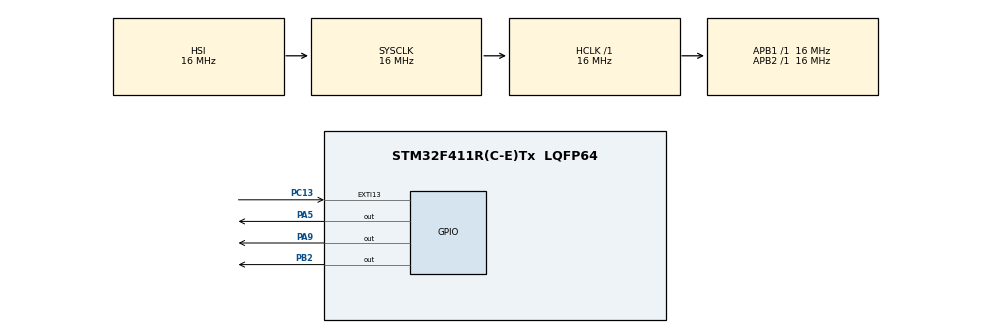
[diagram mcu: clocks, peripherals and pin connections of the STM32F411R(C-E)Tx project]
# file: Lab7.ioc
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FREERTOS.Tasks01=defaultTask,0,128,StartDefaultTask,Default,NULL,Dynamic,NULL,NULL
FREERTOS.configUSE_NEWLIB_REENTRANT=1
Mcu.Family=STM32F4
Mcu.Name=STM32F411R(C-E)Tx
Mcu.Package=LQFP64
NVIC.EXTI15_10_IRQn=true\:5\:0\:true\:false\:true\:false\:true\:true\:true
NVIC.PriorityGroup=NVIC_PRIORITYGROUP_4
NVIC.TIM1_UP_TIM10_IRQn=true\:15\:0\:false\:false\:true\:false\:false\:true\:true
NVIC.TimeBase=TIM1_UP_TIM10_IRQn
NVIC.TimeBaseIP=TIM1
PA5.Signal=GPIO_Output
PA9.Signal=GPIO_Output
PB2.Signal=GPIO_Output
PC13-ANTI_TAMP.Signal=GPXTI13
ProjectManager.HeapSize=0x200
ProjectManager.StackSize=0x400
ProjectManager.TargetToolchain=STM32CubeIDE
RCC.AHBFreq_Value=16000000
RCC.APB1Freq_Value=16000000
RCC.APB2Freq_Value=16000000
RCC.CortexFreq_Value=16000000
RCC.HSE_VALUE=25000000
RCC.HSI_VALUE=16000000
RCC.LSE_VALUE=32768
RCC.SYSCLKFreq_VALUE=16000000
RCC.VCOOutputFreq_Value=192000000
VP_FREERTOS_VS_CMSIS_V1.Mode=CMSIS_V1
VP_SYS_VS_tim1.Mode=TIM1
board=custom

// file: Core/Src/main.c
/* USER CODE BEGIN Header */
/**
  ******************************************************************************
  * @file           : main.c
  * @brief          : Main program body
  ******************************************************************************
  * @attention
  *
  * Copyright (c) 2026 STMicroelectronics.
  * All rights reserved.
  *
  * This software is licensed under terms that can be found in the LICENSE file
  * in the root directory of this software component.
  * If no LICENSE file comes with this software, it is provided AS-IS.
  *Світлодіоди PA5 - зелений PA9 - блакитний PB2 - червоний
  ******************************************************************************
  */
/* USER CODE END Header */
#include "main.h"
#include "cmsis_os.h"

osThreadId defaultTaskHandle;

void SystemClock_Config(void);
static void MX_GPIO_Init(void);
void StartDefaultTask(void const * argument);

/* USER CODE BEGIN PFP */
void Led1Blink(void * argument);
void Led2Blink(void * argument);
void Led3Blink(void * argument);
/* USER CODE END PFP */

/* USER CODE BEGIN 0 */
QueueHandle_t delayQueue;

/* USER CODE END 0 */

int main(void)
{

  /* MCU Configuration--------------------------------------------------------*/

  /* Reset of all peripherals, Initializes the Flash interface and the Systick. */
  HAL_Init();

  /* Configure the system clock */
  SystemClock_Config();

  /* Initialize all configured peripherals */
  MX_GPIO_Init();

  /* USER CODE BEGIN RTOS_QUEUES */
  delayQueue = xQueueCreate(1, sizeof(uint8_t));
  /* add queues, ... */
  /* USER CODE END RTOS_QUEUES */

  /* Create the thread(s) */
  /* definition and creation of defaultTask */
  osThreadDef(defaultTask, StartDefaultTask, osPriorityNormal, 0, 128);
  defaultTaskHandle = osThreadCreate(osThread(defaultTask), NULL);

  /* USER CODE BEGIN RTOS_THREADS */
  /* add threads, ... */
  xTaskCreate(Led1Blink, "Led1Blink", 128, NULL, 1, NULL);
  xTaskCreate(Led2Blink, "Led1Blink", 128, NULL, 1, NULL);
  xTaskCreate(Led3Blink, "Led1Blink", 128, NULL, 1, NULL);

  /* USER CODE END RTOS_THREADS */

  /* Start scheduler */
  osKernelStart();

  /* We should never get here as control is now taken by the scheduler */

  /* Infinite loop */
  while (1)
  {

  }
}

void SystemClock_Config(void)
{
  RCC_OscInitTypeDef RCC_OscInitStruct = {0};
  RCC_ClkInitTypeDef RCC_ClkInitStruct = {0};

  /** Configure the main internal regulator output voltage
  */
  __HAL_RCC_PWR_CLK_ENABLE();
  __HAL_PWR_VOLTAGESCALING_CONFIG(PWR_REGULATOR_VOLTAGE_SCALE1);

  /** Initializes the RCC Oscillators according to the specified parameters
  * in the RCC_OscInitTypeDef structure.
  */
  RCC_OscInitStruct.OscillatorType = RCC_OSCILLATORTYPE_HSI;
  RCC_OscInitStruct.HSIState = RCC_HSI_ON;
  RCC_OscInitStruct.HSICalibrationValue = RCC_HSICALIBRATION_DEFAULT;
  RCC_OscInitStruct.PLL.PLLState = RCC_PLL_NONE;
  if (HAL_RCC_OscConfig(&RCC_OscInitStruct) != HAL_OK)
  {
    Error_Handler();
  }

  /** Initializes the CPU, AHB and APB buses clocks
  */
  RCC_ClkInitStruct.ClockType = RCC_CLOCKTYPE_HCLK|RCC_CLOCKTYPE_SYSCLK
                              |RCC_CLOCKTYPE_PCLK1|RCC_CLOCKTYPE_PCLK2;
  RCC_ClkInitStruct.SYSCLKSource = RCC_SYSCLKSOURCE_HSI;
  RCC_ClkInitStruct.AHBCLKDivider = RCC_SYSCLK_DIV1;
  RCC_ClkInitStruct.APB1CLKDivider = RCC_HCLK_DIV1;
  RCC_ClkInitStruct.APB2CLKDivider = RCC_HCLK_DIV1;

  if (HAL_RCC_ClockConfig(&RCC_ClkInitStruct, FLASH_LATENCY_0) != HAL_OK)
  {
    Error_Handler();
  }
}

static void MX_GPIO_Init(void)
{
  GPIO_InitTypeDef GPIO_InitStruct = {0};

  /* GPIO Ports Clock Enable */
  __HAL_RCC_GPIOC_CLK_ENABLE();
  __HAL_RCC_GPIOH_CLK_ENABLE();
  __HAL_RCC_GPIOA_CLK_ENABLE();
  __HAL_RCC_GPIOB_CLK_ENABLE();

  /*Configure GPIO pin Output Level */
  HAL_GPIO_WritePin(GPIOA, GPIO_PIN_5|GPIO_PIN_9, GPIO_PIN_RESET);

  /*Configure GPIO pin Output Level */
  HAL_GPIO_WritePin(GPIOB, GPIO_PIN_2, GPIO_PIN_RESET);

  /*Configure GPIO pin : PC13 */
  GPIO_InitStruct.Pin = GPIO_PIN_13;
  GPIO_InitStruct.Mode = GPIO_MODE_IT_RISING;
  GPIO_InitStruct.Pull = GPIO_NOPULL;
  HAL_GPIO_Init(GPIOC, &GPIO_InitStruct);

  /*Configure GPIO pins : PA5 PA9 */
  GPIO_InitStruct.Pin = GPIO_PIN_5|GPIO_PIN_9;
  GPIO_InitStruct.Mode = GPIO_MODE_OUTPUT_PP;
  GPIO_InitStruct.Pull = GPIO_NOPULL;
  GPIO_InitStruct.Speed = GPIO_SPEED_FREQ_LOW;
  HAL_GPIO_Init(GPIOA, &GPIO_InitStruct);

  /*Configure GPIO pin : PB2 */
  GPIO_InitStruct.Pin = GPIO_PIN_2;
  GPIO_InitStruct.Mode = GPIO_MODE_OUTPUT_PP;
  GPIO_InitStruct.Pull = GPIO_NOPULL;
  GPIO_InitStruct.Speed = GPIO_SPEED_FREQ_LOW;
  HAL_GPIO_Init(GPIOB, &GPIO_InitStruct);

  /* EXTI interrupt init*/
  HAL_NVIC_SetPriority(EXTI15_10_IRQn, 5, 0);
  HAL_NVIC_EnableIRQ(EXTI15_10_IRQn);

}

/* USER CODE BEGIN 4 */
void Led1Blink(void * argument){
	//частота 1 Гц
	//(тривалість 400 мс)
	uint32_t receivedDelay = 400;
	uint8_t trigger;
	for(;;){

			if (xQueueReceive(delayQueue, &trigger, 0) == pdPASS){

				receivedDelay += 100;

				if (receivedDelay > 1000){
					receivedDelay = 400;
				}
			}

			HAL_GPIO_WritePin(GPIOA, GPIO_PIN_5, GPIO_PIN_SET);
			vTaskDelay(receivedDelay);
			HAL_GPIO_WritePin(GPIOA, GPIO_PIN_5, GPIO_PIN_RESET);
			vTaskDelay(1000 - receivedDelay);
		}

}

void Led2Blink(void * argument){
	//частота 0.25 Гц
	//(тривалість 1 мс)
	for(;;){
		HAL_GPIO_WritePin(GPIOB, GPIO_PIN_2, GPIO_PIN_SET);
		vTaskDelay(1000);
		HAL_GPIO_WritePin(GPIOB, GPIO_PIN_2, GPIO_PIN_RESET);
		vTaskDelay(3000);
	}

}

void Led3Blink(void * argument){
	//частота 0.1 Гц
	//(тривалість 400 мс до 1с)

	for(;;){

		HAL_GPIO_WritePin(GPIOA, GPIO_PIN_9, GPIO_PIN_SET);
		vTaskDelay(2000);
		HAL_GPIO_WritePin(GPIOA, GPIO_PIN_9, GPIO_PIN_RESET);
		vTaskDelay(8000);
	}
}

void HAL_GPIO_EXTI_Callback(uint16_t GPIO_Pin) {
  	if (GPIO_Pin == GPIO_PIN_13){

  		uint8_t triggerSignal = 1;

  		static uint32_t last_interrupt_time = 0;
  		uint32_t interrupt_time = xTaskGetTickCountFromISR();

  		if (interrupt_time - last_interrupt_time > pdMS_TO_TICKS(50)) {

  			xQueueSendFromISR(delayQueue, &triggerSignal, NULL);
  		}
  		last_interrupt_time = interrupt_time;

  	}
  }
/* USER CODE END 4 */

void StartDefaultTask(void const * argument)
{
  for(;;)
  {
    osDelay(1);
  }
}

void HAL_TIM_PeriodElapsedCallback(TIM_HandleTypeDef *htim)
{
  if (htim->Instance == TIM1)
  {
    HAL_IncTick();
  }
}

void Error_Handler(void)
{
  __disable_irq();
  while (1)
  {
  }
}
